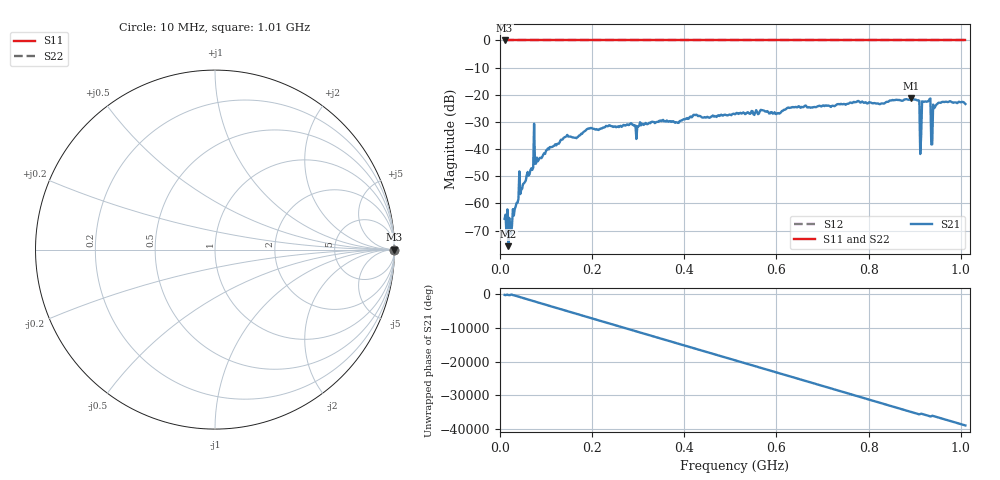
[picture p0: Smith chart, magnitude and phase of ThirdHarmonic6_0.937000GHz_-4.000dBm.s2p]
! 8/16/2025 6:30:08 AM
! C:\ANRITSUVNA\TEMP\TEMP.S2P
! CHANNEL.1
! TR.MEASUREMENT
! RAW.DATA
! RF.CORRECTION.OFF
! AVERAGING.OFF
! IF.BANDWIDTH: 5KHZ
! SWEEPTYPE:  FREQ.SWEEP(Linear)
! Reference Plane Port Info
! PORT:  PORT1  PORT2
! DISTANCE:  0  m  0  m
! TIME:  0  s  0  s
! PHASE.OFFSET:  0  deg.  0  deg.
! LOSS:  0  dB  0  dB
! REF.LOSS:  0  dB  0  dB
! REF.FREQ:  0  Hz  0  Hz
! Power Info
! POWER:  -20  dBm  -20  dBm
! EFF.POWER:  -20  dBm  -20  dBm
! SOURCE.ATTEN:  0  dB  0  dB
! TEST.ATTEN:  0  dB  0  dB
# GHZ S RI R 50.0
! FREQ.GHZ  S11RE  S11IM  S21RE  S21IM  S12RE  S12IM  S22RE  S22IM
!; PortSelection: Port_12
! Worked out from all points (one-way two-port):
!   501 points, 10 MHz to 1.01 GHz, reference 50 ohm
!   highest |S21| = -21.33 dB at 892 MHz (marker M1); lowest = -75.8 dB at 18 MHz (marker M2)
!   lowest |S11| = 0.0 dB at 10 MHz (marker M3)
!   |S11| at or under -10 dB: nowhere
!   |S22| runs from 0.0 to 0.0 dB; largest |S21 - S12| = 1.1
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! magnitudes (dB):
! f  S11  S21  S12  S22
! 10 MHz  0.0  -65.7  0.0  0.0
! 18 MHz  0.0  -75.8  0.0  0.0
! 22 MHz  0.0  -69.6  0.0  0.0
! 38 MHz  0.0  -59.8  0.0  0.0
! 78 MHz  0.0  -45.4  0.0  0.0
! 80 MHz  0.0  -43.1  0.0  0.0
! 178 MHz  0.0  -34.4  0.0  0.0
! 344 MHz  0.0  -30.0  0.0  0.0
! 510 MHz  0.0  -27.2  0.0  0.0
! 678 MHz  0.0  -24.7  0.0  0.0
! 844 MHz  0.0  -22.4  0.0  0.0
! 892 MHz  0.0  -21.3  0.0  0.0
! 906 MHz  0.0  -22.1  0.0  0.0
! 910 MHz  0.0  -22.3  0.0  0.0
! 916 MHz  0.0  -22.4  0.0  0.0
! 920 MHz  0.0  -22.7  0.0  0.0
! 930 MHz  0.0  -22.3  0.0  0.0
! 934 MHz  0.0  -21.4  0.0  0.0
! 940 MHz  0.0  -23.6  0.0  0.0
! 944 MHz  0.0  -24.5  0.0  0.0
! 950 MHz  0.0  -23.2  0.0  0.0
! 1.01 GHz  0.0  -23.4  0.0  0.0
